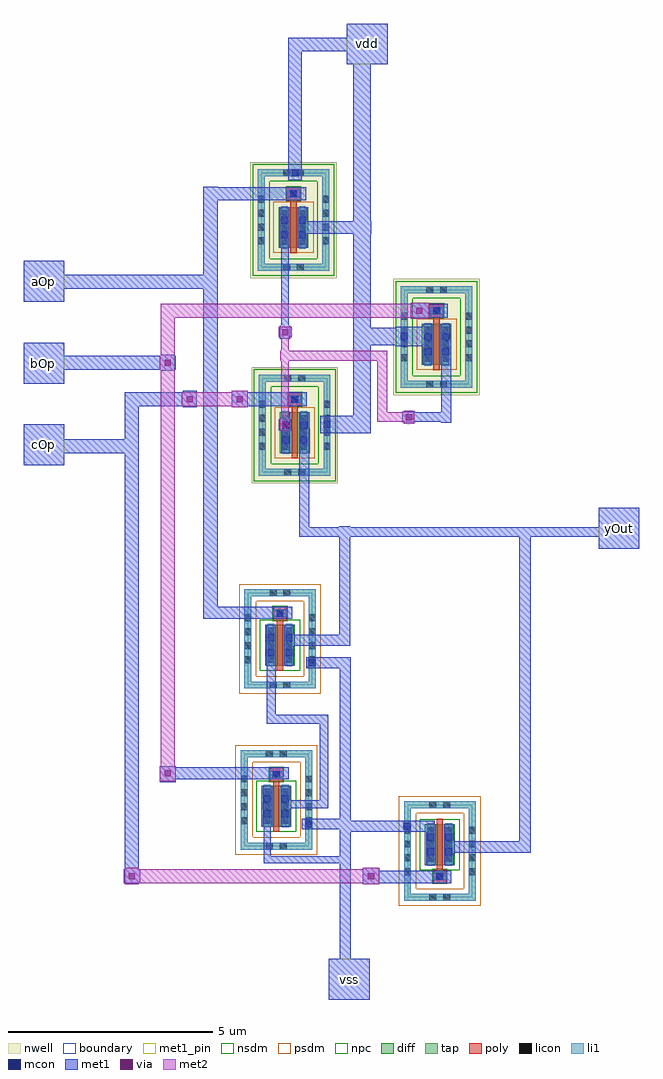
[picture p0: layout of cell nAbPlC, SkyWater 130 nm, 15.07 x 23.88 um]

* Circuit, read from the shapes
.subckt nAbPlC aOp bOp cOp vdd vss yOut
XM1 n1 bOp vss vss sky130_fd_pr__nfet_01v8 w=1 l=0.15
XM2 yOut aOp n1 vss sky130_fd_pr__nfet_01v8 w=1 l=0.15
XM3 yOut cOp vss vss sky130_fd_pr__nfet_01v8 w=1 l=0.15
XM4 vdd aOp n2 vdd sky130_fd_pr__pfet_01v8 w=1 l=0.15
XM5 yOut cOp n2 vdd sky130_fd_pr__pfet_01v8 w=1 l=0.15
XM6 n2 bOp vdd vdd sky130_fd_pr__pfet_01v8 w=1 l=0.15
.ends

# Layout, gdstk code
import gdstk
lib = gdstk.Library(unit=1e-6, precision=1e-09)
def R(c, l, rs):  # rectangles x0, y0, x1, y1
    for r in rs: c.add(gdstk.rectangle(r[:2], r[2:], *l))
def A(c, l, x, y, w, h, nx, ny, dx, dy):  # array of equal rectangles
    R(c, l, [(x+i*dx, y+j*dy, x+i*dx+w, y+j*dy+h) for i in range(nx) for j in range(ny)])
nwell = (64, 20)
diff = (65, 20)
tap = (65, 44)
poly = (66, 20)
licon = (66, 44)
li1 = (67, 20)
mcon = (67, 44)
met1_pin = (68, 16)
met1 = (68, 20)
via = (68, 44)
met2 = (69, 20)
nsdm = (93, 44)
psdm = (94, 20)
npc = (95, 20)
boundary = (235, 4)

sky130_fd_pr__nfet_01v8_ = lib.new_cell('sky130_fd_pr__nfet_01v8_64Z3AY')
R(sky130_fd_pr__nfet_01v8_, diff, [(-0.365,-0.655,0.365,0.345)])
R(sky130_fd_pr__nfet_01v8_, tap, [(-0.875,-1.215,0.875,-1.045), (-0.875,-1.045,-0.705,1.045), (0.705,-1.045,0.875,1.045), (-0.875,1.045,0.875,1.215)])
R(sky130_fd_pr__nfet_01v8_, poly, [(-0.075,-0.785,0.075,0.455), (-0.165,0.455,0.165,0.785)])
A(sky130_fd_pr__nfet_01v8_, licon, -0.875, -0.595, 0.17, 0.17, 1, 4, 0, 0.34)
A(sky130_fd_pr__nfet_01v8_, licon, 0.705, -0.595, 0.17, 0.17, 1, 4, 0, 0.34)
A(sky130_fd_pr__nfet_01v8_, licon, -0.305, -0.58, 0.17, 0.17, 1, 3, 0, 0.34)
A(sky130_fd_pr__nfet_01v8_, licon, 0.135, -0.58, 0.17, 0.17, 1, 3, 0, 0.34)
R(sky130_fd_pr__nfet_01v8_, licon, [(-0.255,-1.215,-0.085,-1.045), (0.085,-1.215,0.255,-1.045), (-0.085,0.535,0.085,0.705), (-0.255,1.045,-0.085,1.215), (0.085,1.045,0.255,1.215)])
R(sky130_fd_pr__nfet_01v8_, li1, [(-0.875,-1.215,0.875,-1.045), (-0.875,-1.045,-0.705,1.045), (0.705,-1.045,0.875,1.045), (-0.305,-0.675,-0.135,0.365), (0.135,-0.675,0.305,0.365), (-0.165,0.535,0.165,0.705), (-0.875,1.045,0.875,1.215)])
R(sky130_fd_pr__nfet_01v8_, mcon, [(-0.305,-0.42,-0.135,-0.25), (0.135,-0.42,0.305,-0.25), (-0.305,-0.06,-0.135,0.11), (0.135,-0.06,0.305,0.11), (-0.085,0.535,0.085,0.705)])
R(sky130_fd_pr__nfet_01v8_, met1, [(-0.335,-0.655,-0.105,0.345), (0.105,-0.655,0.335,0.345), (-0.145,0.505,0.145,0.735)])
R(sky130_fd_pr__nfet_01v8_, nsdm, [(-0.49,-0.78,0.49,0.47)])
R(sky130_fd_pr__nfet_01v8_, psdm, [(-1,-1.34,1,-0.92), (-1,-0.92,-0.58,0.92), (0.58,-0.92,1,0.92), (-1,0.92,1,1.34)])
R(sky130_fd_pr__nfet_01v8_, npc, [(-0.185,0.435,0.185,0.805)])
R(sky130_fd_pr__nfet_01v8_, boundary, [(-0.79,-1.13,0.79,1.13)])

sky130_fd_pr__pfet_01v8_ = lib.new_cell('sky130_fd_pr__pfet_01v8_MGS3BN')
R(sky130_fd_pr__pfet_01v8_, nwell, [(-1.055,-1.42,1.055,1.42)])
R(sky130_fd_pr__pfet_01v8_, diff, [(-0.365,-0.68,0.365,0.32)])
R(sky130_fd_pr__pfet_01v8_, tap, [(-0.875,-1.24,0.875,-1.07), (-0.875,-1.07,-0.705,1.07), (0.705,-1.07,0.875,1.07), (-0.875,1.07,0.875,1.24)])
R(sky130_fd_pr__pfet_01v8_, poly, [(-0.075,-0.81,0.075,0.475), (-0.165,0.475,0.165,0.805)])
A(sky130_fd_pr__pfet_01v8_, licon, -0.305, -0.605, 0.17, 0.17, 1, 3, 0, 0.34)
A(sky130_fd_pr__pfet_01v8_, licon, 0.135, -0.605, 0.17, 0.17, 1, 3, 0, 0.34)
A(sky130_fd_pr__pfet_01v8_, licon, -0.875, -0.595, 0.17, 0.17, 1, 4, 0, 0.34)
A(sky130_fd_pr__pfet_01v8_, licon, 0.705, -0.595, 0.17, 0.17, 1, 4, 0, 0.34)
R(sky130_fd_pr__pfet_01v8_, licon, [(-0.255,-1.24,-0.085,-1.07), (0.085,-1.24,0.255,-1.07), (-0.085,0.555,0.085,0.725), (-0.255,1.07,-0.085,1.24), (0.085,1.07,0.255,1.24)])
R(sky130_fd_pr__pfet_01v8_, li1, [(-0.875,-1.24,0.875,-1.07), (-0.875,-1.07,-0.705,1.07), (0.705,-1.07,0.875,1.07), (-0.305,-0.7,-0.135,0.34), (0.135,-0.7,0.305,0.34), (-0.165,0.555,0.165,0.725), (-0.875,1.07,0.875,1.24)])
R(sky130_fd_pr__pfet_01v8_, mcon, [(-0.305,-0.445,-0.135,-0.275), (0.135,-0.445,0.305,-0.275), (-0.305,-0.085,-0.135,0.085), (0.135,-0.085,0.305,0.085), (-0.085,0.555,0.085,0.725)])
R(sky130_fd_pr__pfet_01v8_, met1, [(-0.335,-0.68,-0.105,0.32), (0.105,-0.68,0.335,0.32), (-0.145,0.525,0.145,0.755)])
R(sky130_fd_pr__pfet_01v8_, nsdm, [(-1,-1.365,1,-0.945), (-1,-0.945,-0.58,0.945), (0.58,-0.945,1,0.945), (-1,0.945,1,1.365)])
R(sky130_fd_pr__pfet_01v8_, psdm, [(-0.49,-0.805,0.49,0.445)])
R(sky130_fd_pr__pfet_01v8_, npc, [(-0.185,0.455,0.185,0.825)])
R(sky130_fd_pr__pfet_01v8_, boundary, [(-0.79,-1.155,0.79,1.155)])

c_sky130_fd_pr__nfet_01v8_ = lib.new_cell('sky130_fd_pr__nfet_01v8_64QSBY')
R(c_sky130_fd_pr__nfet_01v8_, diff, [(-0.365,-0.345,0.365,0.655)])
R(c_sky130_fd_pr__nfet_01v8_, tap, [(-0.875,-1.215,0.875,-1.045), (-0.875,-1.045,-0.705,1.045), (0.705,-1.045,0.875,1.045), (-0.875,1.045,0.875,1.215)])
R(c_sky130_fd_pr__nfet_01v8_, poly, [(-0.165,-0.785,0.165,-0.455), (-0.075,-0.455,0.075,0.785)])
A(c_sky130_fd_pr__nfet_01v8_, licon, -0.875, -0.595, 0.17, 0.17, 1, 4, 0, 0.34)
A(c_sky130_fd_pr__nfet_01v8_, licon, 0.705, -0.595, 0.17, 0.17, 1, 4, 0, 0.34)
A(c_sky130_fd_pr__nfet_01v8_, licon, -0.305, -0.27, 0.17, 0.17, 1, 3, 0, 0.34)
A(c_sky130_fd_pr__nfet_01v8_, licon, 0.135, -0.27, 0.17, 0.17, 1, 3, 0, 0.34)
R(c_sky130_fd_pr__nfet_01v8_, licon, [(-0.255,-1.215,-0.085,-1.045), (0.085,-1.215,0.255,-1.045), (-0.085,-0.705,0.085,-0.535), (-0.255,1.045,-0.085,1.215), (0.085,1.045,0.255,1.215)])
R(c_sky130_fd_pr__nfet_01v8_, li1, [(-0.875,-1.215,0.875,-1.045), (-0.875,-1.045,-0.705,1.045), (0.705,-1.045,0.875,1.045), (-0.165,-0.705,0.165,-0.535), (-0.305,-0.365,-0.135,0.675), (0.135,-0.365,0.305,0.675), (-0.875,1.045,0.875,1.215)])
R(c_sky130_fd_pr__nfet_01v8_, mcon, [(-0.085,-0.705,0.085,-0.535), (-0.305,-0.11,-0.135,0.06), (0.135,-0.11,0.305,0.06), (-0.305,0.25,-0.135,0.42), (0.135,0.25,0.305,0.42)])
R(c_sky130_fd_pr__nfet_01v8_, met1, [(-0.145,-0.735,0.145,-0.505), (-0.335,-0.345,-0.105,0.655), (0.105,-0.345,0.335,0.655)])
R(c_sky130_fd_pr__nfet_01v8_, nsdm, [(-0.49,-0.47,0.49,0.78)])
R(c_sky130_fd_pr__nfet_01v8_, psdm, [(-1,-1.34,1,-0.92), (-1,-0.92,-0.58,0.92), (0.58,-0.92,1,0.92), (-1,0.92,1,1.34)])
R(c_sky130_fd_pr__nfet_01v8_, npc, [(-0.185,-0.805,0.185,-0.435)])
R(c_sky130_fd_pr__nfet_01v8_, boundary, [(-0.79,-1.13,0.79,1.13)])

nabplc = lib.new_cell('nAbPlC')
R(nabplc, li1, [(9.29,-12.92,9.48,-12.75), (6.89,-12.87,7.06,-12.7), (9.3,-12.75,9.48,-12.72), (6.96,-8.95,7.12,-8.93), (6.96,-8.93,7.15,-8.74), (6.96,-8.74,7.12,-8.7), (7.34,-3.12,7.51,-2.88), (9.23,-0.98,9.4,-0.71), (6.54,3.07,6.75,3.24)])
R(nabplc, mcon, [(9.3,-12.92,9.47,-12.75), (6.89,-12.87,7.06,-12.7), (6.98,-8.92,7.15,-8.75), (7.34,-3.085,7.51,-2.915), (9.23,-0.93,9.4,-0.76), (6.56,3.07,6.73,3.24)])
A(nabplc, met1_pin, 0, -4, 1, 1, 1, 3, 0, 2)
R(nabplc, met1_pin, [(7.47,-17.07,8.47,-16.07), (14.07,-6.04,15.07,-5.04), (7.91,5.81,8.91,6.81)])
R(nabplc, met1, [(7.47,-17.07,8.47,-16.07), (7.74,-16.07,8,-13.735), (8.3,-14.25,8.7,-14.22), (2.45,-14.22,2.85,-13.88), (8.3,-14.22,10.46,-13.92), (8.3,-13.92,8.71,-13.88), (2.48,-13.88,2.82,-3.7), (8.3,-13.88,8.7,-13.85), (5.88,-13.74,6.05,-13.735), (5.88,-13.735,8,-13.565), (5.88,-13.565,6.05,-12.26), (7.74,-13.565,8,-12.96), (10.31,-13.48,12.41,-13.2), (9.85,-13.36,10.04,-12.97), (12.13,-13.2,12.41,-5.75), (9.27,-12.97,10.06,-12.96), (7.74,-12.96,10.06,-12.91), (6.81,-12.91,10.06,-12.7), (6.81,-12.7,8,-12.65), (7.74,-12.65,8,-8.96), (6.32,-12.39,7.45,-12.2), (7.25,-12.2,7.45,-10.32), (3.33,-11.76,3.73,-11.68), (3.33,-11.68,6.49,-11.39), (3.33,-11.39,3.73,-11.36), (5.95,-10.32,7.46,-10.1), (5.95,-10.1,6.17,-8.3), (6.92,-8.96,8,-8.7), (7.74,-8.7,8,-8.69), (6.42,-8.41,7.99,-8.15), (7.73,-8.15,7.99,-5.75), (4.4,-7.76,6.575,-7.465), (4.4,-7.465,4.75,0.315), (14.07,-6.04,15.07,-5.75), (6.75,-5.75,15.07,-5.52), (6.75,-5.52,10.16,-5.51), (10.63,-5.52,15.07,-5.51), (6.75,-5.51,6.99,-3.11), (7.73,-5.51,7.99,-5.49), (14.07,-5.51,15.07,-5.04), (0,-4,1,-3.7), (0,-3.7,2.82,-3.36), (6.31,-3.41,6.49,-3.14), (0,-3.36,1,-3), (2.48,-3.36,2.82,-2.55), (7.255,-3.22,8.5,-2.79), (6.24,-3.14,6.56,-2.87), (10.22,-2.96,10.46,-2.94), (9.27,-2.95,9.59,-2.94), (9.27,-2.94,10.46,-2.7), (8.07,-2.79,8.5,-1.065), (9.27,-2.7,9.59,-2.69), (10.22,-2.7,10.46,-0.91), (3.9,-2.58,4.24,-2.55), (5.09,-2.58,5.49,-2.55), (2.48,-2.55,4.24,-2.21), (5.09,-2.55,6.93,-2.21), (3.9,-2.21,4.24,-2.18), (5.09,-2.21,5.49,-2.18), (0,-2,1,-1.66), (3.36,-1.69,3.7,-1.66), (0,-1.66,3.7,-1.32), (0,-1.32,1,-1), (3.36,-1.32,3.7,-1.29), (9.09,-1.09,9.99,-1.065), (8.07,-1.065,9.99,-0.635), (6.27,-0.9,6.53,-0.58), (8.07,-0.635,8.5,1.67), (9.09,-0.635,9.99,-0.61), (6.31,-0.58,6.49,1.94), (9.48,-0.39,10.38,-0.05), (9.48,-0.05,9.91,-0.02), (0,0,1,0.315), (0,0.315,4.75,0.665), (0,0.665,1,1), (4.4,0.665,4.75,2.48), (6.74,1.67,8.51,1.97), (8.07,1.97,8.5,5.81), (4.4,2.48,6.915,2.805), (4.4,2.805,4.75,2.81), (6.48,2.98,6.81,6.13), (7.91,5.81,8.91,6.13), (6.48,6.13,8.91,6.46), (7.91,6.46,8.91,6.81)])
R(nabplc, via, [(2.575,-14.125,2.725,-13.975), (8.425,-14.125,8.575,-13.975), (3.455,-11.61,3.605,-11.46), (6.325,-3.075,6.475,-2.925), (9.355,-2.895,9.505,-2.745), (3.995,-2.455,4.145,-2.305), (5.215,-2.455,5.365,-2.305), (3.455,-1.565,3.605,-1.415), (6.325,-0.815,6.475,-0.665), (9.605,-0.295,9.755,-0.145)])
R(nabplc, met2, [(2.48,-14.25,2.82,-14.22), (8.3,-14.25,8.7,-14.22), (2.48,-14.22,8.7,-13.88), (2.48,-13.88,2.82,-13.85), (8.3,-13.88,8.7,-13.85), (3.33,-11.73,3.73,-11.39), (3.36,-11.39,3.7,-1.66), (6.27,-3.16,6.53,-2.84), (9.3,-2.98,9.56,-2.94), (8.66,-2.94,9.56,-2.7), (6.31,-2.84,6.49,-1.44), (8.66,-2.7,8.9,-1.44), (9.3,-2.7,9.56,-2.66), (5.09,-2.58,5.49,-2.55), (3.87,-2.55,5.49,-2.21), (5.09,-2.21,5.49,-2.18), (3.33,-1.66,3.73,-1.32), (6.28,-1.44,8.9,-1.2), (3.36,-1.32,3.7,-0.39), (6.31,-1.2,6.49,-0.87), (6.24,-0.87,6.56,-0.61), (9.48,-0.42,9.91,-0.39), (3.36,-0.39,9.91,-0.05), (9.48,-0.05,9.91,-0.02)])
nabplc.add(gdstk.Reference(sky130_fd_pr__nfet_01v8_, (6.185,-12.185)))
nabplc.add(gdstk.Reference(sky130_fd_pr__nfet_01v8_, (6.275,-8.245)))
nabplc.add(gdstk.Reference(sky130_fd_pr__pfet_01v8_, (10.105,-0.86)))
nabplc.add(gdstk.Reference(sky130_fd_pr__pfet_01v8_, (6.605,2)))
nabplc.add(gdstk.Reference(sky130_fd_pr__pfet_01v8_, (6.635,-3.02)))
nabplc.add(gdstk.Reference(c_sky130_fd_pr__nfet_01v8_, (10.185,-13.435)))
nabplc.add(gdstk.Label('aOp', (0.5,0.5), layer=68, texttype=5))
nabplc.add(gdstk.Label('bOp', (0.5,-1.5), layer=68, texttype=5))
nabplc.add(gdstk.Label('cOp', (0.5,-3.5), layer=68, texttype=5))
nabplc.add(gdstk.Label('vdd', (8.41,6.31), layer=68, texttype=5))
nabplc.add(gdstk.Label('yOut', (14.57,-5.54), layer=68, texttype=5))
nabplc.add(gdstk.Label('vss', (7.97,-16.57), layer=68, texttype=5))

lib.write_gds('nAbPlC.gds')
